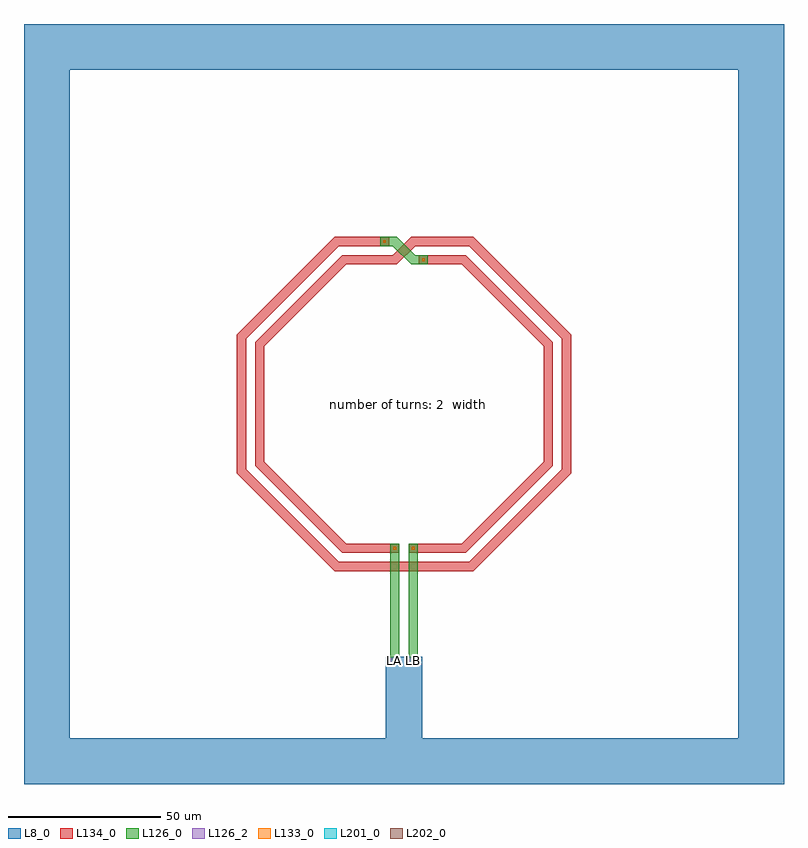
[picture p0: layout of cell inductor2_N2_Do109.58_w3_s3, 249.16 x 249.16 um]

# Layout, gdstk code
import gdstk
lib = gdstk.Library(unit=1e-6, precision=1e-09)
def R(c, l, rs):  # rectangles x0, y0, x1, y1
    for r in rs: c.add(gdstk.rectangle(r[:2], r[2:], *l))
def P(c, l, *ps):  # polygons
    for p in ps: c.add(gdstk.Polygon(p, *l))
L8_0 = (8, 0)
L126_0 = (126, 0)
L126_2 = (126, 2)
L133_0 = (133, 0)
L134_0 = (134, 0)
L201_0 = (201, 0)
L202_0 = (202, 0)

inductor2_n2_do109_58_w3 = lib.new_cell('inductor2_N2_Do109.58_w3_s3')
R(inductor2_n2_do109_58_w3, L8_0, [(-124.58,-124.58,-109.58,124.58), (-109.58,-124.58,109.58,-109.58), (109.58,-124.58,124.58,124.58), (-6,-109.58,6,-82.79), (-109.58,109.58,109.58,124.58)])
R(inductor2_n2_do109_58_w3, L126_0, [(-4.5,-84.79,-1.5,-45.79), (1.5,-84.79,4.5,-45.79)])
P(inductor2_n2_do109_58_w3, L126_0, [(-7.86,54.79),(-7.86,51.79),(-3.621,51.79),(2.379,45.79),(7.86,45.79),(7.86,48.79),(3.621,48.79),(-2.379,54.79)])
R(inductor2_n2_do109_58_w3, L126_2, [(-4.5,-84.79,-1.5,-83.29), (1.5,-84.79,4.5,-83.29)])
R(inductor2_n2_do109_58_w3, L133_0, [(-3.45,-47.74,-2.55,-46.84), (2.55,-47.74,3.45,-46.84), (5.92,46.84,6.82,47.74), (-6.82,52.84,-5.92,53.74)])
R(inductor2_n2_do109_58_w3, L134_0, [(-7.865,-54.79,7.865,-51.79)])
P(inductor2_n2_do109_58_w3, L134_0, [(-4.86,-54.79),(-4.86,-51.79),(-21.449,-51.79),(-51.79,-21.449),(-51.79,3),(-54.79,3),(-54.79,-22.691),(-22.691,-54.79)],
  [(-4.86,51.79),(-4.86,54.79),(-22.691,54.79),(-54.79,22.691),(-54.79,-3),(-51.79,-3),(-51.79,21.449),(-21.449,51.79)],
  [(4.86,-51.79),(4.86,-54.79),(22.691,-54.79),(54.79,-22.691),(54.79,3),(51.79,3),(51.79,-21.449),(21.449,-51.79)],
  [(4.86,54.79),(4.86,51.79),(21.449,51.79),(51.79,21.449),(51.79,-3),(54.79,-3),(54.79,22.691),(22.691,54.79)],
  [(-1.5,-48.79),(-1.5,-45.79),(-18.969,-45.79),(-45.79,-18.969),(-45.79,3),(-48.79,3),(-48.79,-20.211),(-20.211,-48.79)],
  [(-4.86,45.79),(-4.86,48.79),(-20.211,48.79),(-48.79,20.211),(-48.79,-3),(-45.79,-3),(-45.79,18.969),(-18.969,45.79)],
  [(1.5,-45.79),(1.5,-48.79),(20.211,-48.79),(48.79,-20.211),(48.79,3),(45.79,3),(45.79,-18.969),(18.969,-45.79)],
  [(4.86,48.79),(4.86,45.79),(18.969,45.79),(45.79,18.969),(45.79,-3),(48.79,-3),(48.79,20.211),(20.211,48.79)],
  [(-7.86,48.79),(-7.86,45.79),(-2.379,45.79),(3.621,51.79),(7.86,51.79),(7.86,54.79),(2.379,54.79),(-3.621,48.79)])
R(inductor2_n2_do109_58_w3, L201_0, [(-4.5,-84.79,-1.5,-84.69)])
R(inductor2_n2_do109_58_w3, L202_0, [(1.5,-84.79,4.5,-84.69)])
inductor2_n2_do109_58_w3.add(gdstk.Label('LA', (-3,-84.04), layer=27, texttype=25))
inductor2_n2_do109_58_w3.add(gdstk.Label('LB', (3,-84.04), layer=27, texttype=25))
inductor2_n2_do109_58_w3.add(gdstk.Label('  number of turns: 2\n  width: 3.00\n  spacing: 3.00\n  outer diameter: 109.58\n  inner diameter: 91.58\n', (0,0), layer=63, texttype=0))

lib.write_gds('inductor2_N2_Do109.58_w3_s3.gds')
